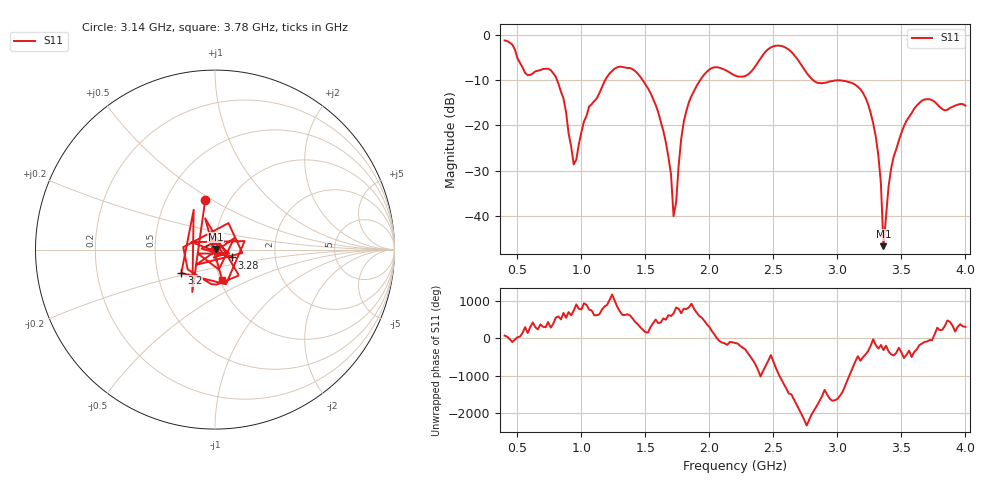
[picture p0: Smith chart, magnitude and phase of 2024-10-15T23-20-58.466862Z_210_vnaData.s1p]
! Created with skrf (http://scikit-rf.org).
# Hz S RI R 50.0
!freq ReS11 ImS11
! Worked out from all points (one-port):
!   181 points, 400 MHz to 4 GHz, reference 50 ohm
!   lowest |S11| = -46.7 dB at 3.36 GHz (marker M1), VSWR 1.01, Z = 50.3 + j0.332 ohm
!   |S11| at or under -10 dB: 810.2 MHz to 1.185 GHz (374.9 MHz wide, 37.6 % of centre); 1.479 GHz to 1.928 GHz (448.3 MHz wide, 26.3 % of centre); 3.022 GHz to end of sweep (the widest 3 of 4)
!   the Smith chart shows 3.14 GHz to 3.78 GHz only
!   S11 on the Smith chart (normalised r, x): 3.14 GHz: 0.77, +0.47; 3.2 GHz: 0.66, -0.18; 3.28 GHz: 1.21, -0.11; 3.78 GHz: 1.02, -0.35
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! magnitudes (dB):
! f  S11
! 400 MHz  -1.2
! 580 MHz  -8.8
! 760 MHz  -7.7
! 860 MHz  -14.0
! 940 MHz  -28.6
! 1.06 GHz  -15.8
! 1.3 GHz  -7.0
! 1.58 GHz  -15.4
! 1.68 GHz  -27.0
! 1.7 GHz  -30.8
! 1.72 GHz  -40.1
! 1.76 GHz  -28.8
! 1.82 GHz  -16.8
! 1.92 GHz  -10.3
! 2.2 GHz  -9.0
! 2.5 GHz  -2.5
! 2.66 GHz  -4.3
! 2.84 GHz  -10.5
! 3.1 GHz  -10.5
! 3.14 GHz  -11.0
! 3.2 GHz  -12.8
! 3.28 GHz  -19.6
! 3.34 GHz  -32.9
! 3.36 GHz  -46.7
! 3.42 GHz  -29.5
! 3.56 GHz  -18.1
! 3.78 GHz  -15.3
! 4 GHz  -15.6
